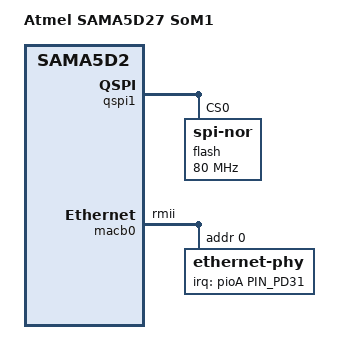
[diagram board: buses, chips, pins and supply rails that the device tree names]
// SPDX-License-Identifier: (GPL-2.0+ OR MIT)
/*
 * at91-sama5d27_som1.dtsi - Device Tree file for SAMA5D27 SoM1 board
 *
 *  Copyright (c) 2017, Microchip Technology Inc.
 *                2017 Cristian Birsan <cristian.birsan@microchip.com>
 *                2017 Claudiu Beznea <claudiu.beznea@microchip.com>
 */
#include "sama5d2.dtsi"
#include "sama5d2-pinfunc.h"

/ {
	model = "Atmel SAMA5D27 SoM1";
	compatible = "atmel,sama5d27-som1", "atmel,sama5d27", "atmel,sama5d2", "atmel,sama5";

	clocks {
		slow_xtal {
			clock-frequency = <32768>;
		};

		main_xtal {
			clock-frequency = <24000000>;
		};
	};

	ahb {
		apb {
			qspi1: spi@f0024000 {
				pinctrl-names = "default";
				pinctrl-0 = <&pinctrl_qspi1_default>;

				flash@0 {
					compatible = "jedec,spi-nor";
					reg = <0>;
					spi-max-frequency = <80000000>;
					spi-tx-bus-width = <4>;
					spi-rx-bus-width = <4>;
					m25p,fast-read;
				};
			};

			macb0: ethernet@f8008000 {
				pinctrl-names = "default";
				pinctrl-0 = <&pinctrl_macb0_default>;
				phy-mode = "rmii";

				ethernet-phy@0 {
					reg = <0x0>;
					interrupt-parent = <&pioA>;
					interrupts = <PIN_PD31 IRQ_TYPE_LEVEL_LOW>;
					pinctrl-names = "default";
					pinctrl-0 = <&pinctrl_macb0_phy_irq>;
				};
			};

			pinctrl@fc038000 {

				pinctrl_qspi1_default: qspi1_default {
					sck_cs {
						pinmux = <PIN_PB5__QSPI1_SCK>,
							 <PIN_PB6__QSPI1_CS>;
						bias-disable;
					};

					data {
						pinmux = <PIN_PB7__QSPI1_IO0>,
							 <PIN_PB8__QSPI1_IO1>,
							 <PIN_PB9__QSPI1_IO2>,
							 <PIN_PB10__QSPI1_IO3>;
						bias-pull-up;
					};
				};

				pinctrl_macb0_default: macb0_default {
					pinmux = <PIN_PD9__GTXCK>,
						 <PIN_PD10__GTXEN>,
						 <PIN_PD11__GRXDV>,
						 <PIN_PD12__GRXER>,
						 <PIN_PD13__GRX0>,
						 <PIN_PD14__GRX1>,
						 <PIN_PD15__GTX0>,
						 <PIN_PD16__GTX1>,
						 <PIN_PD17__GMDC>,
						 <PIN_PD18__GMDIO>;
					bias-disable;
				};

				pinctrl_macb0_phy_irq: macb0_phy_irq {
					pinmux = <PIN_PD31__GPIO>;
					bias-disable;
				};
			};
		};
	};
};
